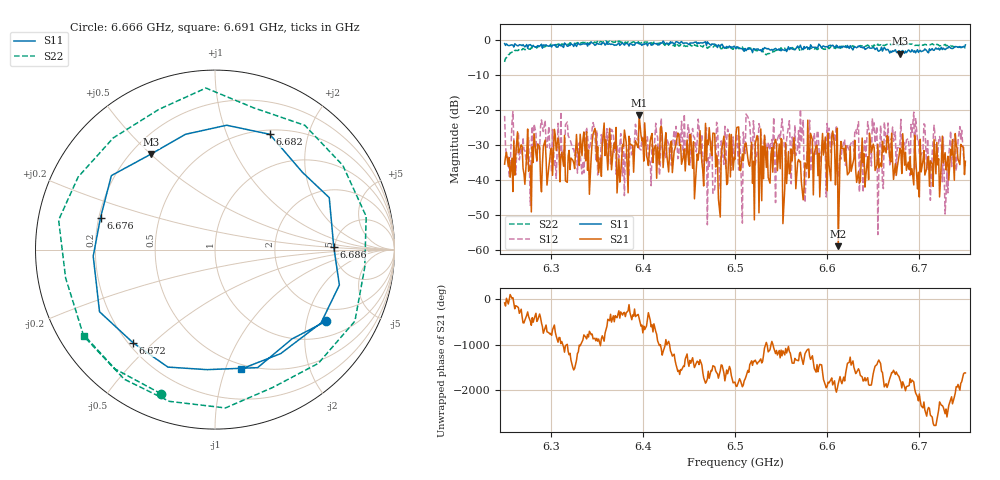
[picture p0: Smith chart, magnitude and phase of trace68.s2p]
# Hz S RI R 50
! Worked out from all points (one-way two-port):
!   401 points, 6.25 GHz to 6.75 GHz, reference 50 ohm
!   highest |S21| = -21.48 dB at 6.396 GHz (marker M1); lowest = -58.9 dB at 6.612 GHz (marker M2)
!   lowest |S11| = -3.9 dB at 6.679 GHz (marker M3), VSWR 4.57, Z = 13.9 + j25 ohm
!   |S11| at or under -10 dB: nowhere
!   |S22| runs from -6.2 to -0.1 dB; largest |S21 - S12| = 0.14
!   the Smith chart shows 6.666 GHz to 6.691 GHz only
!   S11 on the Smith chart (normalised r, x): 6.666 GHz: 1.50, -2.63; 6.672 GHz: 0.22, -0.43; 6.676 GHz: 0.21, +0.13; 6.682 GHz: 0.55, +1.44; 6.686 GHz: 4.90, +0.23; 6.691 GHz: 0.46, -1.14
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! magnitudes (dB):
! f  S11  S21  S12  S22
! 6.25 GHz  -1.0  -35.4  -21.6  -6.2
! 6.334 GHz  -1.2  -33.0  -38.3  -0.7
! 6.375 GHz  -1.5  -40.6  -30.2  -0.3
! 6.396 GHz  -1.0  -21.5  -30.9  -0.8
! 6.418 GHz  -1.3  -35.4  -38.6  -0.8
! 6.475 GHz  -1.1  -33.0  -30.6  -2.0
! 6.481 GHz  -2.1  -34.5  -24.5  -2.0
! 6.5 GHz  -2.0  -34.0  -32.5  -2.1
! 6.584 GHz  -2.1  -28.5  -28.7  -2.4
! 6.612 GHz  -2.2  -58.9  -38.8  -1.7
! 6.666 GHz  -2.6  -27.7  -23.7  -1.3
! 6.668 GHz  -3.7  -33.7  -36.0  -1.2
! 6.672 GHz  -3.2  -39.8  -28.9  -1.3
! 6.676 GHz  -3.6  -36.4  -30.8  -0.9
! 6.679 GHz  -3.9  -30.9  -29.5  -1.4
! 6.682 GHz  -3.0  -26.7  -28.8  -1.5
! 6.686 GHz  -3.6  -37.2  -28.5  -1.6
! 6.691 GHz  -3.3  -38.4  -24.1  -1.1
! 6.724 GHz  -2.1  -34.5  -30.4  -1.5
! 6.73 GHz  -2.2  -35.6  -36.8  -1.5
! 6.736 GHz  -2.4  -28.4  -29.7  -1.7
! 6.75 GHz  -1.4  -34.6  -35.9  -2.3
